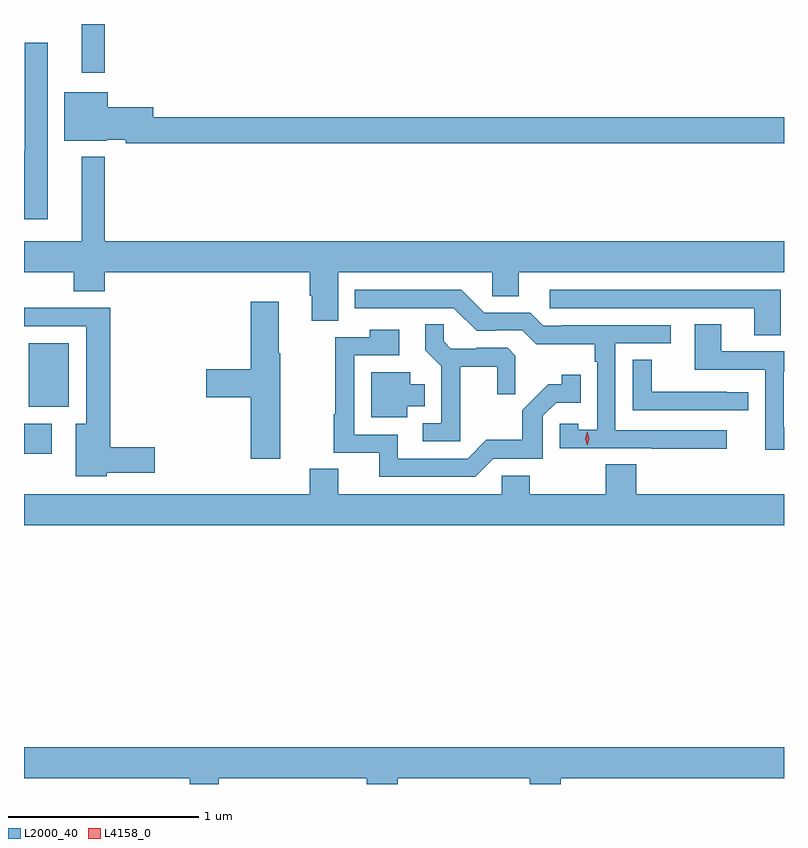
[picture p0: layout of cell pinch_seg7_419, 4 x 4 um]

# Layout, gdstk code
import gdstk
lib = gdstk.Library(unit=1e-6, precision=1e-09)
def R(c, l, rs):  # rectangles x0, y0, x1, y1
    for r in rs: c.add(gdstk.rectangle(r[:2], r[2:], *l))
def P(c, l, *ps):  # polygons
    for p in ps: c.add(gdstk.Polygon(p, *l))
L2000_40 = (2000, 40)
L4158_0 = (4158, 0)

pinch_seg7_419 = lib.new_cell('pinch_seg7_419')
R(pinch_seg7_419, L2000_40, [(334.652,1064.928,334.798,1065.087), (334.676,1065.176,334.888,1065.511), (334.955,1066.935,335.077,1067.191)])
P(pinch_seg7_419, L2000_40, [(334.777,1067.092),(334.656,1067.092),(334.656,1066.525),(334.652,1066.525),(334.652,1066.163),(334.777,1066.163)],
  [(338.652,1066.7),(335.332,1066.7),(335.332,1066.753),(335.092,1066.753),(335.092,1066.831),(334.865,1066.831),(334.865,1066.577),(335.088,1066.577),(335.088,1066.583),(335.188,1066.583),(335.188,1066.564),(338.652,1066.564)],
  [(336.307,1065.884),(337.116,1065.884),(337.116,1065.757),(337.255,1065.757),(337.255,1065.884),(338.652,1065.884),(338.652,1066.048),(335.077,1066.048),(335.077,1066.492),(334.955,1066.492),(334.955,1066.048),(334.652,1066.048),(334.652,1065.884),(334.913,1065.884),(334.913,1065.785),(335.078,1065.785),(335.078,1065.884),(336.155,1065.884),(336.155,1065.762),(336.167,1065.762),(336.167,1065.628),(336.307,1065.628)],
  [(338.635,1065.792),(337.419,1065.792),(337.419,1065.696),(338.495,1065.696),(338.495,1065.553),(338.635,1065.553)],
  [(338.35,1065.054),(337.764,1065.054),(337.764,1065.51),(338.056,1065.51),(338.056,1065.606),(337.486,1065.606),(337.486,1065.603),(337.386,1065.603),(337.317,1065.672),(337.074,1065.672),(336.954,1065.792),(336.392,1065.792),(336.392,1065.696),(336.915,1065.696),(337.035,1065.576),(337.136,1065.576),(337.136,1065.579),(337.275,1065.579),(337.348,1065.506),(337.656,1065.506),(337.656,1065.413),(337.668,1065.413),(337.668,1065.055),(337.569,1065.055),(337.569,1065.087),(337.473,1065.087),(337.473,1064.958),(337.957,1064.958),(337.957,1064.956),(338.35,1064.956)],
  [(336,1065.457),(335.992,1065.457),(335.992,1065.73),(335.846,1065.73),(335.846,1065.374),(335.61,1065.374),(335.61,1065.227),(335.846,1065.227),(335.846,1064.904),(336,1064.904)],
  [(335.088,1064.828),(335.341,1064.828),(335.341,1064.963),(335.105,1064.963),(335.105,1065.698),(334.652,1065.698),(334.652,1065.6),(334.979,1065.6),(334.979,1065.088),(334.925,1065.088),(334.925,1064.81),(335.088,1064.81)],
  [(338.652,1065.069),(338.65,1065.069),(338.65,1065.36),(338.652,1065.36),(338.652,1065.468),(338.323,1065.468),(338.323,1065.611),(338.183,1065.611),(338.183,1065.372),(338.553,1065.372),(338.553,1064.949),(338.652,1064.949)],
  [(336.947,1065.386),(337.144,1065.386),(337.144,1065.243),(337.238,1065.243),(337.238,1065.445),(337.197,1065.486),(337.032,1065.486),(337.032,1065.483),(336.898,1065.483),(336.861,1065.52),(336.861,1065.611),(336.763,1065.611),(336.763,1065.475),(336.849,1065.389),(336.849,1065.09),(336.75,1065.09),(336.75,1064.994),(336.947,1064.994)],
  [(337.122,1064.904),(337.383,1064.904),(337.383,1065.129),(337.452,1065.198),(337.583,1065.198),(337.583,1065.346),(337.482,1065.346),(337.482,1065.296),(337.412,1065.296),(337.275,1065.158),(337.275,1065.003),(337.086,1065.003),(336.987,1064.904),(336.619,1064.904),(336.619,1065.03),(336.39,1065.03),(336.39,1065.447),(336.628,1065.447),(336.628,1065.583),(336.472,1065.583),(336.472,1065.543),(336.289,1065.543),(336.289,1065.137),(336.282,1065.137),(336.282,1064.934),(336.521,1064.934),(336.521,1064.808),(337.026,1064.808)],
  [(338.464,1065.254),(338.351,1065.254),(338.351,1065.255),(337.956,1065.255),(337.956,1065.425),(337.857,1065.425),(337.857,1065.159),(338.464,1065.159)],
  [(336.67,1065.179),(336.76,1065.179),(336.76,1065.295),(336.685,1065.295),(336.685,1065.358),(336.479,1065.358),(336.479,1065.122),(336.67,1065.122)],
  [(338.652,1064.716),(337.874,1064.716),(337.874,1064.873),(337.714,1064.873),(337.714,1064.716),(337.314,1064.716),(337.314,1064.814),(337.167,1064.814),(337.167,1064.716),(336.307,1064.716),(336.307,1064.849),(336.155,1064.849),(336.155,1064.716),(334.652,1064.716),(334.652,1064.552),(338.652,1064.552)],
  [(335.678,1063.22),(336.455,1063.22),(336.455,1063.191),(336.62,1063.191),(336.62,1063.22),(337.313,1063.22),(337.313,1063.191),(337.478,1063.191),(337.478,1063.22),(338.652,1063.22),(338.652,1063.384),(334.652,1063.384),(334.652,1063.22),(335.525,1063.22),(335.525,1063.191),(335.678,1063.191)])
P(pinch_seg7_419, L4158_0, [(337.617,1064.973),(337.617,1064.973),(337.607,1065.009),(337.617,1065.045),(337.617,1065.045),(337.617,1065.045),(337.627,1065.009),(337.617,1064.973)])

lib.write_gds('pinch_seg7_419.gds')
